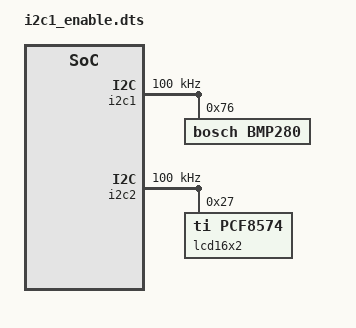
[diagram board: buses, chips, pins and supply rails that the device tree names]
/dts-v1/;
/plugin/;

/ {
    compatible = "ti,beaglebone", "ti,beaglebone-black";
    part-number = "i2c1_enable";
    version = "00A0";

    /* Free up pins used by default configurations */
    fragment@0 {
        target = <&ocp>;
        __overlay__ {
            P9_17_pinmux { status = "disabled"; }; /* i2c1_scl */
            P9_18_pinmux { status = "disabled"; }; /* i2c1_sda */
            P9_19_pinmux { status = "disabled"; }; /* i2c2_scl */
            P9_20_pinmux { status = "disabled"; }; /* i2c2_sda */
        };
    };

    /*Pinmux configuration for I2C1 (BMP280)*/
    fragment@1 {
        target = <&am33xx_pinmux>;
        __overlay__ {
            i2c1_pins: pinmux_i2c1_pins {
                pinctrl-single,pins = <
                    0x158 0x72 /* P9_18: I2C1_SDA, MODE2 */
                    0x15c 0x72 /* P9_17: I2C1_SCL, MODE2 */
                >;
            };
        };
    };
    
    /* Pinmux configuration for I2C2 (LCD16x2) */
    fragment@2 {
        target = <&am33xx_pinmux>;
        __overlay__ {
            i2c2_pins: pinmux_i2c2_pins {
                pinctrl-single,pins = <
                    0x178 0x73 /* P9_19: i2c2_scl, MODE3, pull-up, slow slew */
                    0x17c 0x73 /* P9_20: i2c2_sda, MODE3, pull-up, slow slew */
                >;
            };
        };
    };

    fragment@3 {
        target = <&i2c1>;
        __overlay__ {
            pinctrl-names = "default";
            pinctrl-0 = <&i2c1_pins>;
            status = "okay";
            clock-frequency = <100000>;

            #address-cells = <1>;
            #size-cells = <0>;

            bmp280: bmp280@76 {
                compatible = "bosch,bmp280";
                reg = <0x76>;
                status = "okay";
            };
        };
    };


    /* Enable I2C2 with LCD16x2 (assuming PCF8574-based I2C LCD) */
    fragment@4 {
        target = <&i2c2>;
        __overlay__ {
            pinctrl-names = "default";
            pinctrl-0 = <&i2c2_pins>;
            clock-frequency = <100000>;

            #address-cells = <1>;
            #size-cells = <0>;

            lcd16x2: lcd@27 {
                compatible = "ti,pcf8574";
                reg = <0x27>;
                status = "okay";
            };
        };
    };
};
